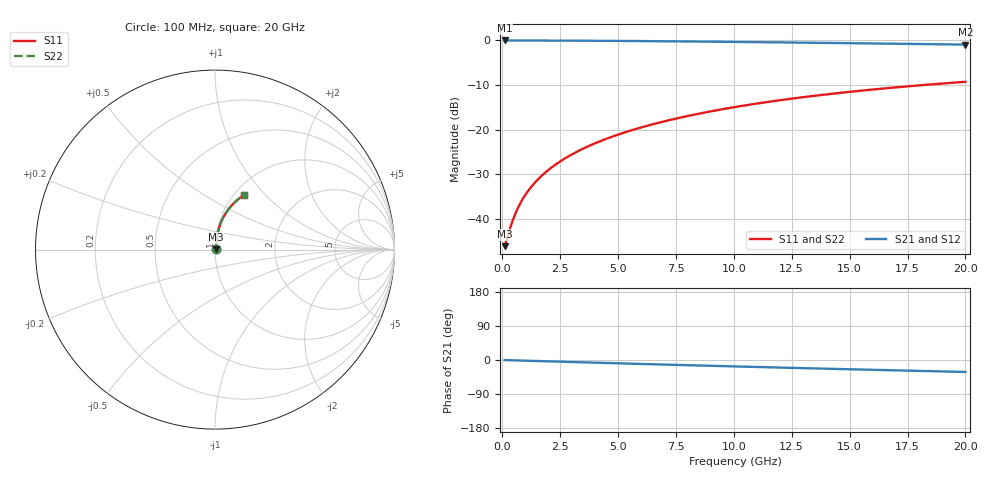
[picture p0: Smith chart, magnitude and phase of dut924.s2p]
! Touchstone file exported from HFSS 2024.1.0
!  File:  C:/UserFiles/LocalFiles/RDL_TSV_Batchsim/temp_RDL_top_924_1779936752.aedt
!  Generated:  10:55:13 AM May 28, 2026
!  Design:  RDL_top
!  Project:  temp_RDL_top_924_1779936752
!  Setup:  Setup1
!  Solution:  Sweep
! Variables:
!  dtsv = 10.80580581um
!  hbump = 3um
!  htsv = 81.93um
!  ldown = 100um
!  lrdl = 405.3um
!  p = 40
!  p1 = 43.02um
!  rhole = 1um
!  t = 450um
!  tdown = 3.915915916um
!  trdl = 2.04um
!  wdown = 15.38538539um
!  wrdl = 16.24um
# GHz S MA R 50.000000
! Terminal data exported
! Port[1] = Box2_T1
! Port[2] = Box2_T2
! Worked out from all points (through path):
!   200 points, 100 MHz to 20 GHz, reference 50 ohm
!   highest |S21| = -0.04 dB at 100 MHz (marker M1); lowest = -1.0 dB at 20 GHz (marker M2)
!   group delay of S21, straight-line fit = 4.37 ps
!   lowest |S11| = -46.1 dB at 100 MHz (marker M3), VSWR 1.01, Z = 50.5 + j0.189 ohm
!   |S11| at or under -10 dB: start of sweep to 18.21 GHz
!   |S22| runs from -46.1 to -9.3 dB; largest |S21 - S12| = 2.6e-15
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0.1  0.004978 22.1  0.9954 -0.2  0.9954 -0.2  0.004978 22.1
! Gamma 0 0 0 0
! Port Impedance 50 0 50 0
0.4  0.00885 56.6  0.9951 -0.7  0.9951 -0.7  0.00885 56.6
0.5  0.01045 61.4  0.995 -0.9  0.995 -0.9  0.01045 61.4
0.6  0.01209 64.9  0.9948 -1.1  0.9948 -1.1  0.01209 64.9
0.7  0.01374 67.5  0.9947 -1.3  0.9947 -1.3  0.01374 67.5
0.9  0.01707 71.1  0.9943 -1.6  0.9943 -1.6  0.01707 71.1
1.2  0.02208 74.5  0.9939 -2.2  0.9939 -2.2  0.02208 74.5
1.4  0.02544 76.0  0.9936 -2.5  0.9936 -2.5  0.02544 76.0
1.7  0.0305 77.7  0.993 -3.0  0.993 -3.0  0.0305 77.7
2.2  0.03901 79.4  0.9921 -3.9  0.9921 -3.9  0.03901 79.4
2.8  0.04934 80.5  0.9907 -5.0  0.9907 -5.0  0.04934 80.5
3.5  0.06154 81.1  0.9889 -6.2  0.9889 -6.2  0.06154 81.1
4.2  0.07386 81.2  0.9866 -7.4  0.9866 -7.4  0.07386 81.2
5  0.08807 81.0  0.9838 -8.8  0.9838 -8.8  0.08807 81.0
5.9  0.1042 80.5  0.9801 -10.3  0.9801 -10.3  0.1042 80.5
6.8  0.1204 79.7  0.976 -11.8  0.976 -11.8  0.1204 79.7
8.4  0.1494 78.1  0.9681 -14.4  0.9681 -14.4  0.1494 78.1
10.1  0.1801 76.0  0.9588 -17.1  0.9588 -17.1  0.1801 76.0
11.7  0.2085 73.8  0.9493 -19.6  0.9493 -19.6  0.2085 73.8
13.4  0.238 71.4  0.9388 -22.1  0.9388 -22.1  0.238 71.4
16.7  0.2926 66.8  0.9173 -26.9  0.9173 -26.9  0.2926 66.8
20  0.3431 62.1  0.8947 -31.5  0.8947 -31.5  0.343 62.1
